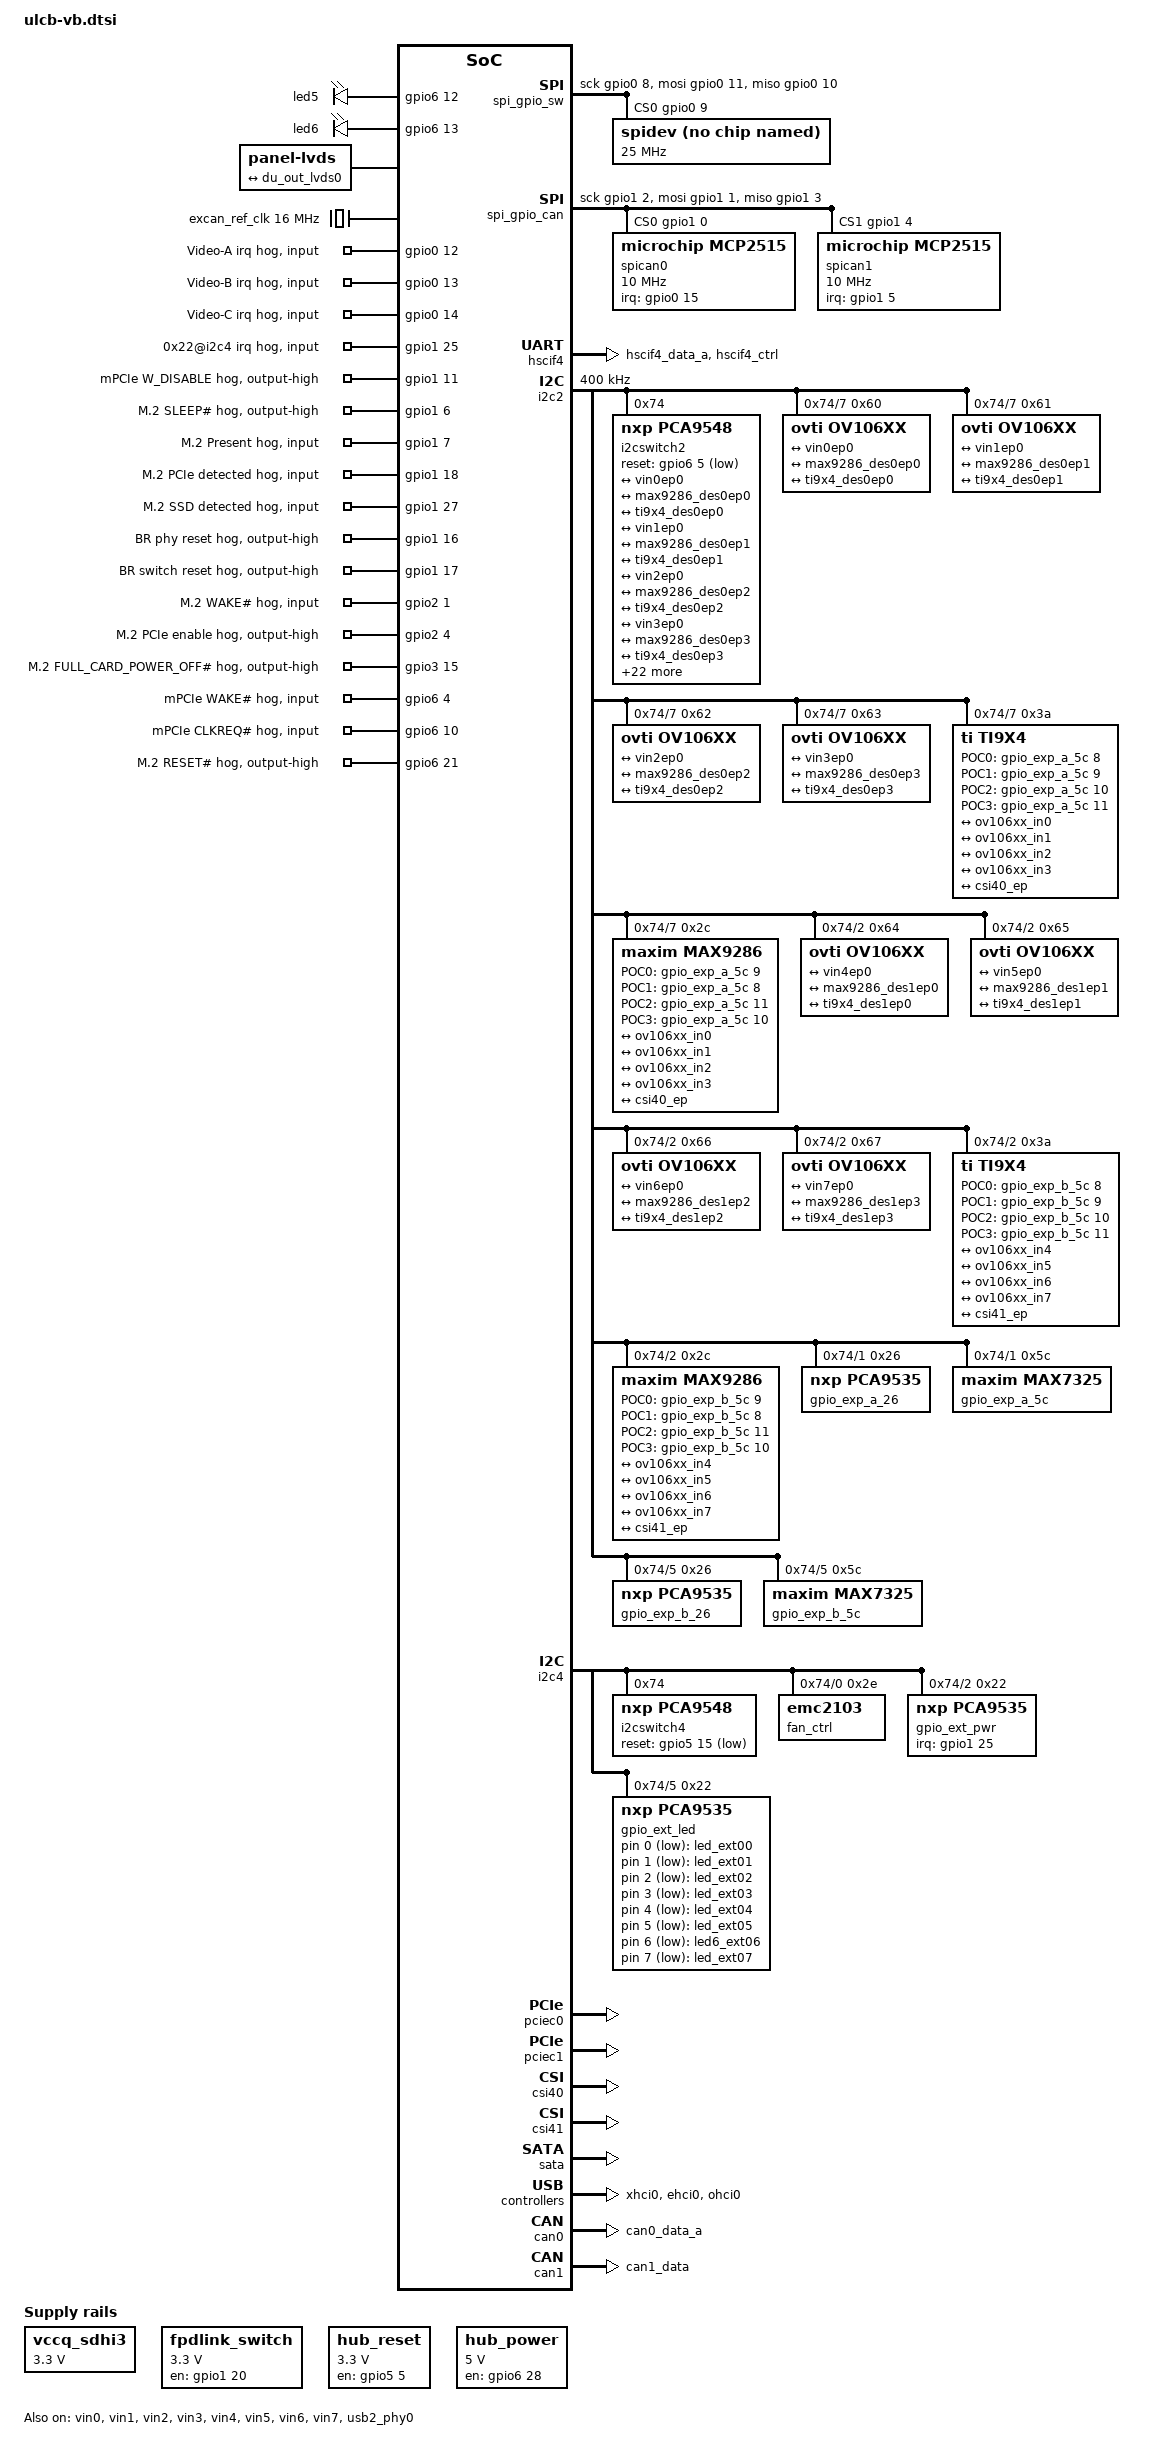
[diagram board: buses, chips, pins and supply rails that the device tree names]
/*
 * Device Tree Source for the ULCB Videobox board
 *
 * Copyright (C) 2017 Cogent Embedded, Inc.
 *
 * This file is licensed under the terms of the GNU General Public License
 * version 2.  This program is licensed "as is" without any warranty of any
 * kind, whether express or implied.
 */

/ {
	leds {
		compatible = "gpio-leds";

		led5 {
			gpios = <&gpio6 12 GPIO_ACTIVE_HIGH>;
		};
		led6 {
			gpios = <&gpio6 13 GPIO_ACTIVE_HIGH>;
		};
		/* D13 - status 0 */
		led_ext00 {
			gpios = <&gpio_ext_led 0 GPIO_ACTIVE_LOW>;
			/* linux,default-trigger = "heartbeat"; */
		};
		/* D14 - status 1 */
		led_ext01 {
			gpios = <&gpio_ext_led 1 GPIO_ACTIVE_LOW>;
			/* linux,default-trigger = "mmc1"; */
		};
		/* D16 - HDMI1 */
		led_ext02 {
			gpios = <&gpio_ext_led 2 GPIO_ACTIVE_LOW>;
		};
		/* D18 - HDMI0 */
		led_ext03 {
			gpios = <&gpio_ext_led 3 GPIO_ACTIVE_LOW>;
		};
		/* D20 - USB3.0 - 0.1 */
		led_ext04 {
			gpios = <&gpio_ext_led 4 GPIO_ACTIVE_LOW>;
		};
		/* D21 - USB3.0 - 0.2 */
		led_ext05 {
			gpios = <&gpio_ext_led 5 GPIO_ACTIVE_LOW>;
		};
		/* D24 - USB3.0 - 1.1 */
		led6_ext06 {
			gpios = <&gpio_ext_led 6 GPIO_ACTIVE_LOW>;
		};
		/* D25 - USB3.0 - 1.2 */
		led_ext07 {
			gpios = <&gpio_ext_led 7 GPIO_ACTIVE_LOW>;
		};
	};

	snd_clk: snd_clk {
		compatible = "fixed-clock";
		#clock-cells = <0>;
		clock-frequency = <24576000>;
		clock-output-names = "scki";
	};

	vccq_sdhi3: regulator@5 {
		compatible = "regulator-fixed";

		regulator-name = "SDHI3 VccQ";
		/* external voltage translator to 1.8V */
		regulator-min-microvolt = <3300000>;
		regulator-max-microvolt = <3300000>;
	};

	fpdlink_switch: regulator@8 {
		compatible = "regulator-fixed";
		regulator-name = "fpdlink_on";
		regulator-min-microvolt = <3300000>;
		regulator-max-microvolt = <3300000>;
		gpio = <&gpio1 20 0>;
		enable-active-high;
		regulator-always-on;
	};

	hub_reset: regulator@9 {
		compatible = "regulator-fixed";
		regulator-name = "hub_reset";
		regulator-min-microvolt = <3300000>;
		regulator-max-microvolt = <3300000>;
		gpio = <&gpio5 5 0>;
		enable-active-high;
		regulator-always-on;
	};

	hub_power: regulator@10 {
		compatible = "regulator-fixed";
		regulator-name = "hub_power";
		regulator-min-microvolt = <5000000>;
		regulator-max-microvolt = <5000000>;
		gpio = <&gpio6 28 0>;
		enable-active-high;
		regulator-always-on;
	};

	/delete-node/sound;

	rsnd_ak4613: sound@0 {
		pinctrl-0 = <&sound_0_pins>;
		pinctrl-names = "default";
		compatible = "simple-audio-card";

		simple-audio-card,format = "left_j";
		simple-audio-card,name = "ak4613";

		simple-audio-card,bitclock-master = <&sndcpu>;
		simple-audio-card,frame-master = <&sndcpu>;

		sndcpu: simple-audio-card,cpu@1 {
			sound-dai = <&rcar_sound>;
		};

		sndcodec: simple-audio-card,codec@1 {
			sound-dai = <&ak4613>;
		};
	};

	lvds {
		compatible = "panel-lvds";

		width-mm = <210>;
		height-mm = <158>;

		data-mapping = "jeida-24";

		panel-timing {
			/* 1280x800 @60Hz */
			clock-frequency = <65000000>;
			hactive = <1280>;
			vactive = <800>;
			hsync-len = <40>;
			hfront-porch = <80>;
			hback-porch = <40>;
			vfront-porch = <14>;
			vback-porch = <14>;
			vsync-len = <4>;
		};

		port {
			lvds_in: endpoint {
				remote-endpoint = <&du_out_lvds0>;
			};
		};
	};

	excan_ref_clk: excan-ref-clock {
		compatible = "fixed-clock";
		#clock-cells = <0>;
		clock-frequency = <16000000>;
	};

	radio: si468x@0 {
		compatible = "si,si468x-pcm";
		status = "okay";

		#sound-dai-cells = <0>;
	};

	spi_gpio_sw {
		compatible = "spi-gpio";
		#address-cells = <0x1>;
		#size-cells = <0x0>;
		gpio-sck = <&gpio0 8 GPIO_ACTIVE_HIGH>;
		gpio-miso = <&gpio0 10 GPIO_ACTIVE_HIGH>;
		gpio-mosi = <&gpio0 11 GPIO_ACTIVE_HIGH>;
		cs-gpios = <&gpio0 9 GPIO_ACTIVE_HIGH>;
		num-chipselects = <1>;

		spidev: spidev@0 {
			compatible = "spidev", "spi-gpio";
			reg = <0>;
			spi-max-frequency = <25000000>;
			spi-cpha;
			spi-cpol;
		};
	};

	spi_gpio_can {
		compatible = "spi-gpio";
		#address-cells = <0x1>;
		#size-cells = <0x0>;
		gpio-sck = <&gpio1 2 GPIO_ACTIVE_HIGH>;
		gpio-miso = <&gpio1 3 GPIO_ACTIVE_HIGH>;
		gpio-mosi = <&gpio1 1 GPIO_ACTIVE_HIGH>;
		cs-gpios = <&gpio1 0 GPIO_ACTIVE_HIGH
			    &gpio1 4 GPIO_ACTIVE_HIGH>;
		num-chipselects = <2>;

		spican0: spidev@0 {
			compatible = "microchip,mcp2515";
			reg = <0>;
			clocks = <&excan_ref_clk>;
			interrupt-parent = <&gpio0>;
			interrupts = <15 GPIO_ACTIVE_LOW>;
			spi-max-frequency = <10000000>;
		};
		spican1: spidev@1 {
			compatible = "microchip,mcp2515";
			reg = <1>;
			clocks = <&excan_ref_clk>;
			interrupt-parent = <&gpio1>;
			interrupts = <5 GPIO_ACTIVE_LOW>;
			spi-max-frequency = <10000000>;
		};
	};
};

&pfc {
	hscif4_pins: hscif4 {
		groups = "hscif4_data_a", "hscif4_ctrl";
		function = "hscif4";
	};

	sdhi3_pins_3v3: sd3_3v3 {
		groups = "sdhi3_data4", "sdhi3_ctrl";
		function = "sdhi3";
		power-source = <3300>;
	};

	/delete-node/sound;

	sound_0_pins: sound1 {
		groups = "ssi01239_ctrl", "ssi0_data", "ssi1_data_a";
		function = "ssi";
	};

	usb0_pins: usb0 {
		groups = "usb0";
		function = "usb0";
	};

	can0_pins: can0 {
		groups = "can0_data_a";
		function = "can0";
	};

	can1_pins: can1 {
		groups = "can1_data";
		function = "can1";
	};

	canfd0_pins: canfd0 {
		groups = "canfd0_data_a";
		function = "canfd0";
	};

	canfd1_pins: canfd1 {
		groups = "canfd1_data";
		function = "canfd1";
	};
};

&gpio0 {
	video_a_irq {
		gpio-hog;
		gpios = <12 GPIO_ACTIVE_HIGH>;
		input;
		line-name = "Video-A irq";
	};

	video_b_irq {
		gpio-hog;
		gpios = <13 GPIO_ACTIVE_HIGH>;
		input;
		line-name = "Video-B irq";
	};

	video_c_irq {
		gpio-hog;
		gpios = <14 GPIO_ACTIVE_HIGH>;
		input;
		line-name = "Video-C irq";
	};
};

&gpio1 {
	gpioext_4_22_irq {
		gpio-hog;
		gpios = <25 GPIO_ACTIVE_HIGH>;
		input;
		line-name = "0x22@i2c4 irq";
	};
	pcie_disable {
		gpio-hog;
		gpios = <11 GPIO_ACTIVE_HIGH>;
		output-high;
		line-name = "mPCIe W_DISABLE";
	};
	m2_sleep {
		gpio-hog;
		gpios = <6 GPIO_ACTIVE_HIGH>;
		output-high;
		line-name = "M.2 SLEEP#";
	};
	m2_pres {
		gpio-hog;
		gpios = <7 GPIO_ACTIVE_HIGH>;
		input;
		line-name = "M.2 Present";
	};
	m2_pcie_det {
		gpio-hog;
		gpios = <18 GPIO_ACTIVE_HIGH>;
		input;
		line-name = "M.2 PCIe detected";
	};
	m2_usb_det {
		gpio-hog;
		gpios = <19 GPIO_ACTIVE_HIGH>;
		input;
		line-name = "M.2 USB30 detected";
	};
	m2_usb_det {
		gpio-hog;
		gpios = <27 GPIO_ACTIVE_HIGH>;
		input;
		line-name = "M.2 SSD detected";
	};
	eth_phy_reset {
		gpio-hog;
		gpios = <16 GPIO_ACTIVE_HIGH>;
		output-high;
		line-name = "BR phy reset";
	};
	eth_sw_reset {
		gpio-hog;
		gpios = <17 GPIO_ACTIVE_HIGH>;
		output-high;
		line-name = "BR switch reset";
	};
};

&gpio2 {
	m2_wake {
		gpio-hog;
		gpios = <1 GPIO_ACTIVE_HIGH>;
		input;
		line-name = "M.2 WAKE#";
	};
	m2_pcie_en {
		gpio-hog;
		gpios = <4 GPIO_ACTIVE_HIGH>;
		output-high;
		line-name = "M.2 PCIe enable";
	};
};

&gpio3 {
	m2_power_off {
		gpio-hog;
		gpios = <15 GPIO_ACTIVE_HIGH>;
		output-high;
		line-name = "M.2 FULL_CARD_POWER_OFF#";
	};
};

&gpio6 {
	pcie_wake {
		gpio-hog;
		gpios = <4 GPIO_ACTIVE_HIGH>;
		input;
		line-name = "mPCIe WAKE#";
	};
	pcie_clkreq {
		gpio-hog;
		gpios = <10 GPIO_ACTIVE_HIGH>;
		input;
		line-name = "mPCIe CLKREQ#";
	};
	m2_rst {
		gpio-hog;
		gpios = <21 GPIO_ACTIVE_HIGH>;
		output-high;
		line-name = "M.2 RESET#";
	};
};

&hscif4 {
	pinctrl-0 = <&hscif4_pins>;
	pinctrl-names = "default";
	uart-has-rtscts;

	status = "okay";
};

&i2c2 {
	clock-frequency = <400000>;

	i2cswitch2: pca9548@74 {
		compatible = "nxp,pca9548";
		#address-cells = <1>;
		#size-cells = <0>;
		reg = <0x74>;
		reset-gpios = <&gpio6 5 GPIO_ACTIVE_LOW>;

		i2c@0 {
			#address-cells = <1>;
			#size-cells = <0>;
			reg = <0>;
			/* USB3.0 HUB node(s) */
		};

		i2c@6 {
			#address-cells = <1>;
			#size-cells = <0>;
			reg = <6>;
			/* PCIe node(s) */
		};

		i2c@7 {
			#address-cells = <1>;
			#size-cells = <0>;
			reg = <7>;
			/* Slot A (CN10) */

			ov106xx@0 {
				compatible = "ovti,ov106xx";
				reg = <0x60>;

				port@0 {
					ov106xx_in0: endpoint {
						clock-lanes = <0>;
						data-lanes = <1 2 3 4>;
						remote-endpoint = <&vin0ep0>;
					};
				};
				port@1 {
					ov106xx_max9286_des0ep0: endpoint@0 {
						remote-endpoint = <&max9286_des0ep0>;
					};
					ov106xx_ti9x4_des0ep0: endpoint@1 {
						remote-endpoint = <&ti9x4_des0ep0>;
					};
				};
			};

			ov106xx@1 {
				compatible = "ovti,ov106xx";
				reg = <0x61>;

				port@0 {
					ov106xx_in1: endpoint {
						clock-lanes = <0>;
						data-lanes = <1 2 3 4>;
						remote-endpoint = <&vin1ep0>;
					};
				};
				port@1 {
					ov106xx_max9286_des0ep1: endpoint@0 {
						remote-endpoint = <&max9286_des0ep1>;
					};
					ov106xx_ti9x4_des0ep1: endpoint@1 {
						remote-endpoint = <&ti9x4_des0ep1>;
					};
				};
			};

			ov106xx@2 {
				compatible = "ovti,ov106xx";
				reg = <0x62>;

				port@0 {
					ov106xx_in2: endpoint {
						clock-lanes = <0>;
						data-lanes = <1 2 3 4>;
						remote-endpoint = <&vin2ep0>;
					};
				};
				port@1 {
					ov106xx_max9286_des0ep2: endpoint@0 {
						remote-endpoint = <&max9286_des0ep2>;
					};
					ov106xx_ti9x4_des0ep2: endpoint@1 {
						remote-endpoint = <&ti9x4_des0ep2>;
					};
				};
			};

			ov106xx@3 {
				compatible = "ovti,ov106xx";
				reg = <0x63>;

				port@0 {
					ov106xx_in3: endpoint {
						clock-lanes = <0>;
						data-lanes = <1 2 3 4>;
						remote-endpoint = <&vin3ep0>;
					};
				};
				port@1 {
					ov106xx_max9286_des0ep3: endpoint@0 {
						remote-endpoint = <&max9286_des0ep3>;
					};
					ov106xx_ti9x4_des0ep3: endpoint@1 {
						remote-endpoint = <&ti9x4_des0ep3>;
					};
				};
			};

			/* DS90UB9x4 @ 0x3a */
			ti9x4@0 {
				compatible = "ti,ti9x4";
				reg = <0x3a>;
				ti,links = <4>;
				ti,lanes = <4>;
				ti,forwarding-mode = "round-robin";
				ti,cable-mode = "stp";

				POC0-gpios = <&gpio_exp_a_5c 8 GPIO_ACTIVE_HIGH>;
				POC1-gpios = <&gpio_exp_a_5c 9 GPIO_ACTIVE_HIGH>;
				POC2-gpios = <&gpio_exp_a_5c 10 GPIO_ACTIVE_HIGH>;
				POC3-gpios = <&gpio_exp_a_5c 11 GPIO_ACTIVE_HIGH>;

				port@0 {
					ti9x4_des0ep0: endpoint@0 {
						ti9x3-addr = <0x0c>;
						dvp-order = <0>;
						remote-endpoint = <&ov106xx_in0>;
					};
					ti9x4_des0ep1: endpoint@1 {
						ti9x3-addr = <0x0d>;
						dvp-order = <0>;
						remote-endpoint = <&ov106xx_in1>;
					};
					ti9x4_des0ep2: endpoint@2 {
						ti9x3-addr = <0x0e>;
						dvp-order = <0>;
						remote-endpoint = <&ov106xx_in2>;
					};
					ti9x4_des0ep3: endpoint@3 {
						ti9x3-addr = <0x0f>;
						dvp-order = <0>;
						remote-endpoint = <&ov106xx_in3>;
					};
				};
				port@1 {
					ti9x4_csi0ep0: endpoint {
						csi-rate = <1450>;
						remote-endpoint = <&csi40_ep>;
					};
				};
			};

			/* MAX9286 @ 0x2c */
			max9286@0 {
				compatible = "maxim,max9286";
				reg = <0x2c>;
				maxim,links = <4>;
				maxim,lanes = <4>;
				maxim,resetb-gpio = <1>;
				maxim,fsync-mode = "automatic";
				maxim,timeout = <100>;

				POC0-gpios = <&gpio_exp_a_5c 9 GPIO_ACTIVE_HIGH>;
				POC1-gpios = <&gpio_exp_a_5c 8 GPIO_ACTIVE_HIGH>;
				POC2-gpios = <&gpio_exp_a_5c 11 GPIO_ACTIVE_HIGH>;
				POC3-gpios = <&gpio_exp_a_5c 10 GPIO_ACTIVE_HIGH>;

				port@0 {
					max9286_des0ep0: endpoint@0 {
						max9271-addr = <0x50>;
						dvp-order = <1>;
						remote-endpoint = <&ov106xx_in0>;
					};
					max9286_des0ep1: endpoint@1 {
						max9271-addr = <0x51>;
						dvp-order = <1>;
						remote-endpoint = <&ov106xx_in1>;
					};
					max9286_des0ep2: endpoint@2 {
						max9271-addr = <0x52>;
						dvp-order = <1>;
						remote-endpoint = <&ov106xx_in2>;
					};
					max9286_des0ep3: endpoint@3 {
						max9271-addr = <0x53>;
						dvp-order = <1>;
						remote-endpoint = <&ov106xx_in3>;
					};
				};
				port@1 {
					max9286_csi0ep0: endpoint {
						csi-rate = <700>;
						remote-endpoint = <&csi40_ep>;
					};
				};
			};
		};

		i2c@2 {
			#address-cells = <1>;
			#size-cells = <0>;
			reg = <2>;
			/* Slot B (CN11) */

			ov106xx@4 {
				compatible = "ovti,ov106xx";
				reg = <0x64>;

				port@0 {
					ov106xx_in4: endpoint {
						clock-lanes = <0>;
						data-lanes = <1 2 3 4>;
						remote-endpoint = <&vin4ep0>;
					};
				};
				port@1 {
					ov106xx_max9286_des1ep0: endpoint@0 {
						remote-endpoint = <&max9286_des1ep0>;
					};
					ov106xx_ti9x4_des1ep0: endpoint@1 {
						remote-endpoint = <&ti9x4_des1ep0>;
					};
				};
			};

			ov106xx@5 {
				compatible = "ovti,ov106xx";
				reg = <0x65>;

				port@0 {
					ov106xx_in5: endpoint {
						clock-lanes = <0>;
						data-lanes = <1 2 3 4>;
						remote-endpoint = <&vin5ep0>;
					};
				};
				port@1 {
					ov106xx_max9286_des1ep1: endpoint@0 {
						remote-endpoint = <&max9286_des1ep1>;
					};
					ov106xx_ti9x4_des1ep1: endpoint@1 {
						remote-endpoint = <&ti9x4_des1ep1>;
					};
				};
			};

			ov106xx@6 {
				compatible = "ovti,ov106xx";
				reg = <0x66>;

				port@0 {
					ov106xx_in6: endpoint {
						clock-lanes = <0>;
						data-lanes = <1 2 3 4>;
						remote-endpoint = <&vin6ep0>;
					};
				};
				port@1 {
					ov106xx_max9286_des1ep2: endpoint@0 {
						remote-endpoint = <&max9286_des1ep2>;
					};
					ov106xx_ti9x4_des1ep2: endpoint@1 {
						remote-endpoint = <&ti9x4_des1ep2>;
					};
				};
			};

			ov106xx@7 {
				compatible = "ovti,ov106xx";
				reg = <0x67>;

				port@0 {
					ov106xx_in7: endpoint {
						clock-lanes = <0>;
						data-lanes = <1 2 3 4>;
						remote-endpoint = <&vin7ep0>;
					};
				};
				port@1 {
					ov106xx_max9286_des1ep3: endpoint@0 {
						remote-endpoint = <&max9286_des1ep3>;
					};
					ov106xx_ti9x4_des1ep3: endpoint@1 {
						remote-endpoint = <&ti9x4_des1ep3>;
					};
				};
			};

			/* DS90UB9x4 @ 0x3a */
			ti9x4@1 {
				compatible = "ti,ti9x4";
				reg = <0x3a>;
				ti,links = <4>;
				ti,lanes = <4>;
				ti,forwarding-mode = "round-robin";
				ti,cable-mode = "stp";

				POC0-gpios = <&gpio_exp_b_5c 8 GPIO_ACTIVE_HIGH>;
				POC1-gpios = <&gpio_exp_b_5c 9 GPIO_ACTIVE_HIGH>;
				POC2-gpios = <&gpio_exp_b_5c 10 GPIO_ACTIVE_HIGH>;
				POC3-gpios = <&gpio_exp_b_5c 11 GPIO_ACTIVE_HIGH>;

				port@0 {
					ti9x4_des1ep0: endpoint@0 {
						ti9x3-addr = <0x0c>;
						dvp-order = <0>;
						remote-endpoint = <&ov106xx_in4>;
					};
					ti9x4_des1ep1: endpoint@1 {
						ti9x3-addr = <0x0d>;
						dvp-order = <0>;
						remote-endpoint = <&ov106xx_in5>;
					};
					ti9x4_des1ep2: endpoint@2 {
						ti9x3-addr = <0x0e>;
						dvp-order = <0>;
						remote-endpoint = <&ov106xx_in6>;
					};
					ti9x4_des1ep3: endpoint@3 {
						ti9x3-addr = <0x0f>;
						dvp-order = <0>;
						remote-endpoint = <&ov106xx_in7>;
					};
				};
				port@1 {
					ti9x4_csi2ep0: endpoint {
						csi-rate = <1450>;
						remote-endpoint = <&csi41_ep>;
					};
				};
			};

			/* MAX9286 @ 0x2c */
			max9286@1 {
				compatible = "maxim,max9286";
				reg = <0x2c>;
				maxim,links = <4>;
				maxim,lanes = <4>;
				maxim,resetb-gpio = <1>;
				maxim,fsync-mode = "automatic";
				maxim,timeout = <100>;

				POC0-gpios = <&gpio_exp_b_5c 9 GPIO_ACTIVE_HIGH>;
				POC1-gpios = <&gpio_exp_b_5c 8 GPIO_ACTIVE_HIGH>;
				POC2-gpios = <&gpio_exp_b_5c 11 GPIO_ACTIVE_HIGH>;
				POC3-gpios = <&gpio_exp_b_5c 10 GPIO_ACTIVE_HIGH>;

				port@0 {
					max9286_des1ep0: endpoint@0 {
						max9271-addr = <0x50>;
						dvp-order = <1>;
						remote-endpoint = <&ov106xx_in4>;
					};
					max9286_des1ep1: endpoint@1 {
						max9271-addr = <0x51>;
						dvp-order = <1>;
						remote-endpoint = <&ov106xx_in5>;
					};
					max9286_des1ep2: endpoint@2 {
						max9271-addr = <0x52>;
						dvp-order = <1>;
						remote-endpoint = <&ov106xx_in6>;
					};
					max9286_des1ep3: endpoint@3 {
						max9271-addr = <0x53>;
						dvp-order = <1>;
						remote-endpoint = <&ov106xx_in7>;
					};
				};
				port@1 {
					max9286_csi2ep0: endpoint {
						csi-rate = <700>;
						remote-endpoint = <&csi41_ep>;
					};
				};
			};
		};

		i2c@3 {
			#address-cells = <1>;
			#size-cells = <0>;
			reg = <3>;
			/* Slot C (CN12) */
		};

		i2c@1 {
			#address-cells = <1>;
			#size-cells = <0>;
			reg = <1>;
			/* Slot A (CN10) */

			/* PCA9535 is a redundant/deprecated card */
			gpio_exp_a_26: gpio@26 {
				compatible = "nxp,pca9535";
				reg = <0x26>;
				gpio-controller;
				#gpio-cells = <2>;

				video_a_des_cfg1 {
					gpio-hog;
					gpios = <5 GPIO_ACTIVE_HIGH>;
					input;
					line-name = "Video-A cfg1";
				};
				video_a_des_cfg0 {
					gpio-hog;
					gpios = <6 GPIO_ACTIVE_HIGH>;
					input;
					line-name = "Video-A cfg0";
				};
				video_a_pwr_shdn {
					gpio-hog;
					gpios = <3 GPIO_ACTIVE_HIGH>;
					output-high;
					line-name = "Video-A PWR_SHDN";
				};
				video_a_cam_pwr0 {
					gpio-hog;
					gpios = <12 GPIO_ACTIVE_HIGH>;
					output-high;
					line-name = "Video-A PWR0";
				};
				video_a_cam_pwr1 {
					gpio-hog;
					gpios = <13 GPIO_ACTIVE_HIGH>;
					output-high;
					line-name = "Video-A PWR1";
				};
				video_a_cam_pwr2 {
					gpio-hog;
					gpios = <14 GPIO_ACTIVE_HIGH>;
					output-high;
					line-name = "Video-A PWR2";
				};
				video_a_cam_pwr3 {
					gpio-hog;
					gpios = <15 GPIO_ACTIVE_HIGH>;
					output-high;
					line-name = "Video-A PWR3";
				};
				video_a_des_shdn {
					gpio-hog;
					gpios = <4 GPIO_ACTIVE_HIGH>;
					output-high;
					line-name = "Video-A DES_SHDN";
				};
				video_a_des_led {
					gpio-hog;
					gpios = <7 GPIO_ACTIVE_HIGH>;
					output-low;
					line-name = "Video-A led";
				};
			};

			gpio_exp_a_5c: gpio@5c {
				compatible = "maxim,max7325";
				reg = <0x5c>;
				gpio-controller;
				#gpio-cells = <2>;

				video_a_des_cfg2 {
					gpio-hog;
					gpios = <4 GPIO_ACTIVE_HIGH>;
					input;
					line-name = "Video-A cfg2";
				};
				video_a_des_cfg1 {
					gpio-hog;
					gpios = <6 GPIO_ACTIVE_HIGH>;
					input;
					line-name = "Video-A cfg1";
				};
				video_a_des_cfg0 {
					gpio-hog;
					gpios = <7 GPIO_ACTIVE_HIGH>;
					input;
					line-name = "Video-A cfg0";
				};
				video_a_pwr_shdn {
					gpio-hog;
					gpios = <14 GPIO_ACTIVE_HIGH>;
					output-high;
					line-name = "Video-A PWR_SHDN";
				};
				video_a_des_shdn {
					gpio-hog;
					gpios = <13 GPIO_ACTIVE_HIGH>;
					output-high;
					line-name = "Video-A DES_SHDN";
				};
				video_a_led {
					gpio-hog;
					gpios = <12 GPIO_ACTIVE_HIGH>;
					output-low;
					line-name = "Video-A LED";
				};
			};
		};

		i2c@5 {
			#address-cells = <1>;
			#size-cells = <0>;
			reg = <5>;
			/* Slot B (CN11) */

			/* PCA9535 is a redundant/deprecated card */
			gpio_exp_b_26: gpio@26 {
				compatible = "nxp,pca9535";
				reg = <0x26>;
				gpio-controller;
				#gpio-cells = <2>;

				video_b_des_cfg1 {
					gpio-hog;
					gpios = <5 GPIO_ACTIVE_HIGH>;
					input;
					line-name = "Video-B cfg1";
				};
				video_b_des_cfg0 {
					gpio-hog;
					gpios = <6 GPIO_ACTIVE_HIGH>;
					input;
					line-name = "Video-B cfg0";
				};
				video_b_pwr_shdn {
					gpio-hog;
					gpios = <3 GPIO_ACTIVE_HIGH>;
					output-high;
					line-name = "Video-B PWR_SHDN";
				};
				video_b_cam_pwr0 {
					gpio-hog;
					gpios = <12 GPIO_ACTIVE_HIGH>;
					output-high;
					line-name = "Video-B PWR0";
				};
				video_b_cam_pwr1 {
					gpio-hog;
					gpios = <13 GPIO_ACTIVE_HIGH>;
					output-high;
					line-name = "Video-B PWR1";
				};
				video_b_cam_pwr2 {
					gpio-hog;
					gpios = <14 GPIO_ACTIVE_HIGH>;
					output-high;
					line-name = "Video-B PWR2";
				};
				video_b_cam_pwr3 {
					gpio-hog;
					gpios = <15 GPIO_ACTIVE_HIGH>;
					output-high;
					line-name = "Video-B PWR3";
				};
				video_b_des_shdn {
					gpio-hog;
					gpios = <4 GPIO_ACTIVE_HIGH>;
					output-high;
					line-name = "Video-B DES_SHDN";
				};
				video_b_des_led {
					gpio-hog;
					gpios = <7 GPIO_ACTIVE_HIGH>;
					output-low;
					line-name = "Video-B led";
				};
			};

			gpio_exp_b_5c: gpio@5c {
				compatible = "maxim,max7325";
				reg = <0x5c>;
				gpio-controller;
				#gpio-cells = <2>;

				video_b_des_cfg2 {
					gpio-hog;
					gpios = <4 GPIO_ACTIVE_HIGH>;
					input;
					line-name = "Video-B cfg2";
				};
				video_b_des_cfg1 {
					gpio-hog;
					gpios = <6 GPIO_ACTIVE_HIGH>;
					input;
					line-name = "Video-B cfg1";
				};
				video_b_des_cfg0 {
					gpio-hog;
					gpios = <7 GPIO_ACTIVE_HIGH>;
					input;
					line-name = "Video-B cfg0";
				};
				video_b_pwr_shdn {
					gpio-hog;
					gpios = <14 GPIO_ACTIVE_HIGH>;
					output-high;
					line-name = "Video-B PWR_SHDN";
				};
				video_b_des_shdn {
					gpio-hog;
					gpios = <13 GPIO_ACTIVE_HIGH>;
					output-high;
					line-name = "Video-B DES_SHDN";
				};
				video_b_led {
					gpio-hog;
					gpios = <12 GPIO_ACTIVE_HIGH>;
					output-low;
					line-name = "Video-B LED";
				};
			};
		};

		i2c@4 {
			#address-cells = <1>;
			#size-cells = <0>;
			reg = <4>;
			/* Slot C (CN12) */
		};
	};
};

&i2c4 {
	i2cswitch4: pca9548@74 {
		compatible = "nxp,pca9548";
		#address-cells = <1>;
		#size-cells = <0>;
		reg = <0x74>;
		reset-gpios= <&gpio5 15 GPIO_ACTIVE_LOW>;

		i2c@0 {
			#address-cells = <1>;
			#size-cells = <0>;
			reg = <0>;
			/* FAN node - EMC2103 */
			fan_ctrl:ecm2103@2e {
				compatible = "emc2103";
				reg = <0x2e>;
			};
		};

		i2c@1 {
			#address-cells = <1>;
			#size-cells = <0>;
			reg = <1>;
			/* Power nodes - 2 x TPS544x20 */
		};

		i2c@2 {
			#address-cells = <1>;
			#size-cells = <0>;
			reg = <2>;
			/* CAN and power board nodes */

			gpio_ext_pwr: pca9535@22 {
				compatible = "nxp,pca9535";
				reg = <0x22>;
				gpio-controller;
				#gpio-cells = <2>;
				interrupt-controller;
				interrupt-parent = <&gpio1>;
				interrupts = <25 IRQ_TYPE_EDGE_FALLING>;

				/* enable input DCDC after wake-up signal released */
				pwr_hold {
					gpio-hog;
					gpios = <11 GPIO_ACTIVE_HIGH>;
					output-high;
					line-name = "pwr_hold";
				};

				/* CAN0 */
				can0_stby {
					gpio-hog;
					gpios = <4 GPIO_ACTIVE_HIGH>;
					output-low;
					line-name = "can0_stby";
				};
				can0_load {
					gpio-hog;
					gpios = <0 GPIO_ACTIVE_HIGH>;
					output-low;
					line-name = "can0_120R_load";
				};
				/* CAN1 */
				can1_stby {
					gpio-hog;
					gpios = <5 GPIO_ACTIVE_HIGH>;
					output-low;
					line-name = "can1_stby";
				};
				can1_load {
					gpio-hog;
					gpios = <1 GPIO_ACTIVE_HIGH>;
					output-low;
					line-name = "can1_120R_load";
				};
				/* CAN2 */
				can2_stby {
					gpio-hog;
					gpios = <6 GPIO_ACTIVE_HIGH>;
					output-low;
					line-name = "can2_stby";
				};
				can2_load {
					gpio-hog;
					gpios = <2 GPIO_ACTIVE_HIGH>;
					output-low;
					line-name = "can2_120R_load";
				};
				can2_rst {
					gpio-hog;
					gpios = <8 GPIO_ACTIVE_HIGH>;
					output-high;
					line-name = "can2_rst";
				};
				/* CAN3 */
				can3_stby {
					gpio-hog;
					gpios = <7 GPIO_ACTIVE_HIGH>;
					output-low;
					line-name = "can3_stby";
				};
				can3_load {
					gpio-hog;
					gpios = <3 GPIO_ACTIVE_HIGH>;
					output-low;
					line-name = "can3_120R_load";
				};
				can3_rst {
					gpio-hog;
					gpios = <9 GPIO_ACTIVE_HIGH>;
					output-high;
					line-name = "can3_rst";
				};
			};
		};

		i2c@3 {
			#address-cells = <1>;
			#size-cells = <0>;
			reg = <3>;
			/* FPDLink output node - DS90UH947 */
		};

		i2c@4 {
			#address-cells = <1>;
			#size-cells = <0>;
			reg = <4>;
			/* BCM switch node */
		};

		i2c@5 {
			#address-cells = <1>;
			#size-cells = <0>;
			reg = <5>;
			/* LED board node(s) */

			gpio_ext_led: pca9535@22 {
				compatible = "nxp,pca9535";
				reg = <0x22>;
				gpio-controller;
				#gpio-cells = <2>;

				/* gpios 0..7 are used for indication LEDs, low-active */
			};
		};

		i2c@6 {
			#address-cells = <1>;
			#size-cells = <0>;
			reg = <6>;
			/* M2 connector i2c node(s) */
		};

		/* port 7 is not used */
	};
};

&pcie_bus_clk {
	clock-frequency = <100000000>;
	status = "okay";
};

&pciec0 {
	status = "okay";
};

&pciec1 {
	status = "okay";
};

&vin0 {
	status = "okay";

	ports {
		#address-cells = <1>;
		#size-cells = <0>;

		port@0 {
			vin0ep0: endpoint {
				csi,select = "csi40";
				virtual,channel = <0>;
				data-lanes = <1 2 3 4>;
				remote-endpoint = <&ov106xx_in0>;
			};
		};
		port@1 {
			csi0ep0: endpoint {
				remote-endpoint = <&csi40_ep>;
			};
		};
		port@2 {
			vin0_max9286_des0ep0: endpoint@0 {
				remote-endpoint = <&max9286_des0ep0>;
			};
			vin0_ti9x4_des0ep0: endpoint@1 {
				remote-endpoint = <&ti9x4_des0ep0>;
			};
		};
	};
};

&vin1 {
	status = "okay";

	ports {
		#address-cells = <1>;
		#size-cells = <0>;

		port@0 {
			vin1ep0: endpoint {
				csi,select = "csi40";
				virtual,channel = <1>;
				data-lanes = <1 2 3 4>;
				remote-endpoint = <&ov106xx_in1>;
			};
		};
		port@1 {
			csi0ep1: endpoint {
				remote-endpoint = <&csi40_ep>;
			};
		};
		port@2 {
			vin1_max9286_des0ep1: endpoint@0 {
				remote-endpoint = <&max9286_des0ep1>;
			};
			vin1_ti9x4_des0ep1: endpoint@1 {
				remote-endpoint = <&ti9x4_des0ep1>;
			};
		};
	};
};

&vin2 {
	status = "okay";

	ports {
		#address-cells = <1>;
		#size-cells = <0>;

		port@0 {
			vin2ep0: endpoint {
				csi,select = "csi40";
				virtual,channel = <2>;
				data-lanes = <1 2 3 4>;
				remote-endpoint = <&ov106xx_in2>;
			};
		};
		port@1 {
			csi0ep2: endpoint {
				remote-endpoint = <&csi40_ep>;
			};
		};
		port@2 {
			vin2_max9286_des0ep2: endpoint@0 {
				remote-endpoint = <&max9286_des0ep2>;
			};
			vin2_ti9x4_des0ep2: endpoint@1 {
				remote-endpoint = <&ti9x4_des0ep2>;
			};
		};
	};
};

&vin3 {
	status = "okay";

	ports {
		#address-cells = <1>;
		#size-cells = <0>;

		port@0 {
			vin3ep0: endpoint {
				csi,select = "csi40";
				virtual,channel = <3>;
				data-lanes = <1 2 3 4>;
				remote-endpoint = <&ov106xx_in3>;
			};
		};
		port@1 {
			csi0ep3: endpoint {
				remote-endpoint = <&csi40_ep>;
			};
		};
		port@2 {
			vin3_max9286_des0ep3: endpoint@0 {
				remote-endpoint = <&max9286_des0ep3>;
			};
			vin3_ti9x4_des0ep3: endpoint@1 {
				remote-endpoint = <&ti9x4_des0ep3>;
			};
		};
	};
};

&vin4 {
	status = "okay";

	ports {
		#address-cells = <1>;
		#size-cells = <0>;

		port@0 {
			vin4ep0: endpoint {
				csi,select = "csi41";
				virtual,channel = <0>;
				remote-endpoint = <&ov106xx_in4>;
				data-lanes = <1 2 3 4>;
			};
		};
		port@1 {
			csi2ep0: endpoint {
				remote-endpoint = <&csi41_ep>;
			};
		};
		port@2 {
			vin4_max9286_des1ep0: endpoint@0 {
				remote-endpoint = <&max9286_des1ep0>;
			};
			vin4_ti9x4_des1ep0: endpoint@1 {
				remote-endpoint = <&ti9x4_des1ep0>;
			};
		};
	};
};

&vin5 {
	status = "okay";

	ports {
		#address-cells = <1>;
		#size-cells = <0>;

		port@0 {
			vin5ep0: endpoint@0 {
				csi,select = "csi41";
				virtual,channel = <1>;
				remote-endpoint = <&ov106xx_in5>;
				data-lanes = <1 2 3 4>;
			};
		};
		port@1 {
			csi2ep1: endpoint {
				remote-endpoint = <&csi41_ep>;
			};
		};
		port@2 {
			vin5_max9286_des1ep1: endpoint@0 {
				remote-endpoint = <&max9286_des1ep1>;
			};
			vin5_ti9x4_des1ep1: endpoint@1 {
				remote-endpoint = <&ti9x4_des1ep1>;
			};
		};
	};
};

&vin6 {
	status = "okay";

	ports {
		#address-cells = <1>;
		#size-cells = <0>;

		port@0 {
			vin6ep0: endpoint@0 {
				csi,select = "csi41";
				virtual,channel = <2>;
				remote-endpoint = <&ov106xx_in6>;
				data-lanes = <1 2 3 4>;
			};
		};
		port@1 {
			csi2ep2: endpoint {
				remote-endpoint = <&csi41_ep>;
			};
		};
		port@2 {
			vin6_max9286_des1ep2: endpoint@0 {
				remote-endpoint = <&max9286_des1ep2>;
			};
			vin6_ti9x4_des1ep2: endpoint@1 {
				remote-endpoint = <&ti9x4_des1ep2>;
			};
		};
	};
};

&vin7 {
	status = "okay";

	ports {
		#address-cells = <1>;
		#size-cells = <0>;

		port@0 {
			vin7ep0: endpoint@0 {
				csi,select = "csi41";
				virtual,channel = <3>;
				remote-endpoint = <&ov106xx_in7>;
				data-lanes = <1 2 3 4>;
			};
		};
		port@1 {
			csi2ep3: endpoint {
				remote-endpoint = <&csi41_ep>;
			};
		};
		port@2 {
			vin7_max9286_des1ep3: endpoint@0 {
				remote-endpoint = <&max9286_des1ep3>;
			};
			vin7_ti9x4_des1ep3: endpoint@1 {
				remote-endpoint = <&ti9x4_des1ep3>;
			};
		};
	};
};

&csi40 {
	status = "okay";

	virtual,channel {
		csi2_vc0 {
			data,type = "ycbcr422";
			receive,vc = <0>;
		};
		csi2_vc1 {
			data,type = "ycbcr422";
			receive,vc = <1>;
		};
		csi2_vc2 {
			data,type = "ycbcr422";
			receive,vc = <2>;
		};
		csi2_vc3 {
			data,type = "ycbcr422";
			receive,vc = <3>;
		};
	};

	port {
		#address-cells = <1>;
		#size-cells = <0>;

		csi40_ep: endpoint {
			clock-lanes = <0>;
			data-lanes = <1 2 3 4>;
			csi-rate = <300>;
		};
	};
};

&csi41 {
	status = "okay";

	virtual,channel {
		csi2_vc0 {
			data,type = "ycbcr422";
			receive,vc = <0>;
		};
		csi2_vc1 {
			data,type = "ycbcr422";
			receive,vc = <1>;
		};
		csi2_vc2 {
			data,type = "ycbcr422";
			receive,vc = <2>;
		};
		csi2_vc3 {
			data,type = "ycbcr422";
			receive,vc = <3>;
		};
	};

	port {
		#address-cells = <1>;
		#size-cells = <0>;

		csi41_ep: endpoint {
			clock-lanes = <0>;
			data-lanes = <1 2 3 4>;
			csi-rate = <300>;
		};
	};
};

&rcar_sound {
	pinctrl-0 = <&sound_clk_pins>;

	/* Multi DAI */
	#sound-dai-cells = <1>;
};

&sata {
	status = "okay";
};

&ssi1 {
	/delete-property/shared-pin;
};

&avb {
	/delete-property/phy-handle;
	/delete-property/phy-gpios;
	phy-mode = "rgmii";

	/delete-node/ethernet-phy@0;

	fixed-link {
		speed = <100>;
		full-duplex;
	};
};

&msiof1 {
	status = "disabled";
};

&usb2_phy0 {
	pinctrl-0 = <&usb0_pins>;
	pinctrl-names = "default";

	status = "okay";
};

&xhci0 {
	status = "okay";
};

&ehci0 {
	status = "okay";
};

&ohci0 {
	status = "okay";
};

&can0 {
	pinctrl-0 = <&can0_pins>;
	pinctrl-names = "default";
	status = "okay";

	renesas,can-clock-select = <0x0>;
};

&can1 {
	pinctrl-0 = <&can1_pins>;
	pinctrl-names = "default";
	status = "okay";

	renesas,can-clock-select = <0x0>;
};

&canfd {
	pinctrl-0 = <&canfd0_pins &canfd1_pins>;
	pinctrl-names = "default";
	status = "disabled";

	renesas,can-clock-select = <0x0>;

	channel0 {
		status = "okay";
	};

	channel1 {
		status = "okay";
	};
};

/* uncomment to enable CN12 on VIN4-7 */
//#include "ulcb-vb-cn12.dtsi"
